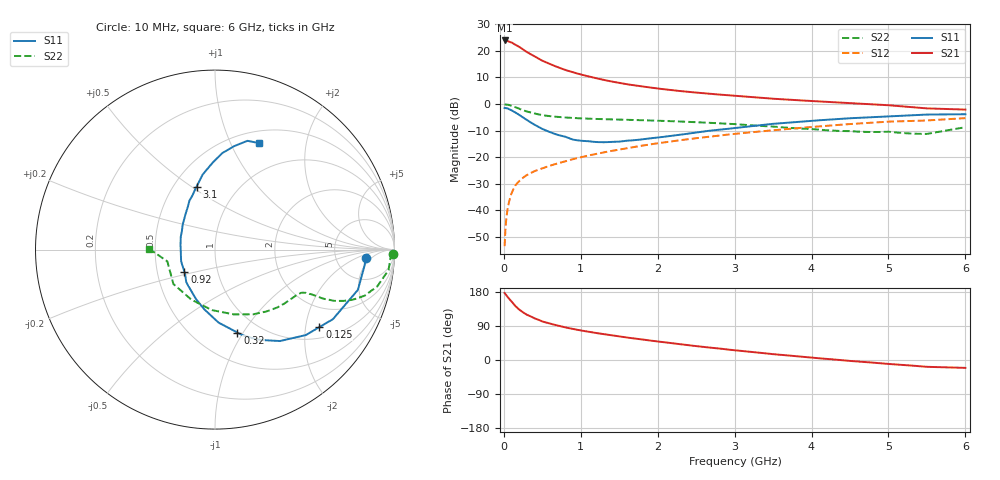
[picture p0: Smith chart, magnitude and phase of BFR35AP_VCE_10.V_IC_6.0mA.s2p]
! Infineon Technologies  Discrete & RF Semiconductors
! BFR35AP
! VCE =  10. V,  IC =  6.0 mA
! Common Emitter S-Parameters:  Nov 2015
# GHz  S  MA  R  50
!  f  S11  S21  S12  S22
! GHz  MAG  ANG  MAG  ANG  MAG  ANG  MAG  ANG
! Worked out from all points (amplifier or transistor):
!   210 points, 10 MHz to 6 GHz, reference 50 ohm
!   highest |S21| = 23.9 dB at 10 MHz (marker M1)
!   |S21| within 3 dB of that: start of sweep to 229.9 MHz
!   unconditionally stable (mu >= 1): 811.5 MHz to 2.916 GHz
!   at 185 MHz: K = 0.40, MSG = 25.6 dB, |S12| = -29.5 dB
!   at 1.52 GHz: K = 1.10, MAG = 10.5 dB, |S12| = -17.0 dB
!   at 6 GHz: K = 0.88, MSG = 1.6 dB, |S12| = -5.3 dB
!   S11 on the Smith chart (normalised r, x): 10 MHz: 11, -3; 125 MHz: 1.31, -2.39; 320 MHz: 0.79, -0.94; 920 MHz: 0.69, -0.18; 3.1 GHz: 0.65, +0.52; 6 GHz: 0.64, +1.29
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0.01  0.8423 -3.1  15.74 176.8  0.0021 91.2  0.9925 -1.3
0.03  0.8316 -9.4  15.37 171.4  0.0064 82.5  0.9767 -4.0
0.05  0.8273 -15.7  15.33 166.2  0.0108 78.9  0.9738 -6.7
0.06  0.8103 -18.5  15.1 163.8  0.0128 77.7  0.9638 -7.9
0.1  0.763 -30.5  14.48 153.8  0.0208 75.2  0.9277 -12.7
0.125  0.7247 -36.6  13.71 148.3  0.025 71.6  0.8995 -14.8
0.15  0.6953 -43.2  13.08 142.2  0.0293 69.0  0.8726 -17.1
0.2  0.625 -54.6  11.92 133.1  0.0353 65.6  0.8144 -20.1
0.26  0.545 -65.9  10.42 124.3  0.042 61.9  0.754 -22.3
0.3  0.4993 -72.4  9.516 119.3  0.046 61.1  0.7217 -23.3
0.32  0.4786 -74.9  9.165 117.7  0.0477 60.8  0.7093 -23.5
0.4  0.4072 -87.2  7.849 109.8  0.0544 59.6  0.6599 -24.4
0.5  0.3391 -99.9  6.542 101.7  0.0612 59.6  0.6155 -24.7
0.7  0.2623 -121.5  4.934 90.6  0.0761 60.6  0.5714 -25.3
0.92  0.2108 -143.8  3.871 81.0  0.0932 61.2  0.5433 -26.2
1.02  0.2024 -153.5  3.538 77.4  0.1007 61.7  0.5349 -26.9
1.4  0.1937 173.3  2.652 65.2  0.1308 61.5  0.5138 -30.8
2.02  0.2355 137.9  1.942 48.4  0.1838 58.9  0.4829 -39.6
3.1  0.3656 106.3  1.388 23.8  0.2828 50.0  0.4081 -62.1
4.1  0.4938 90.4  1.117 4.5  0.3788 39.3  0.3279 -97.0
5.1  0.5936 78.4  0.923 -11.8  0.4694 25.5  0.2908 -145.2
6  0.6419 67.6  0.785 -20.8  0.5419 14.8  0.3653 179.6
